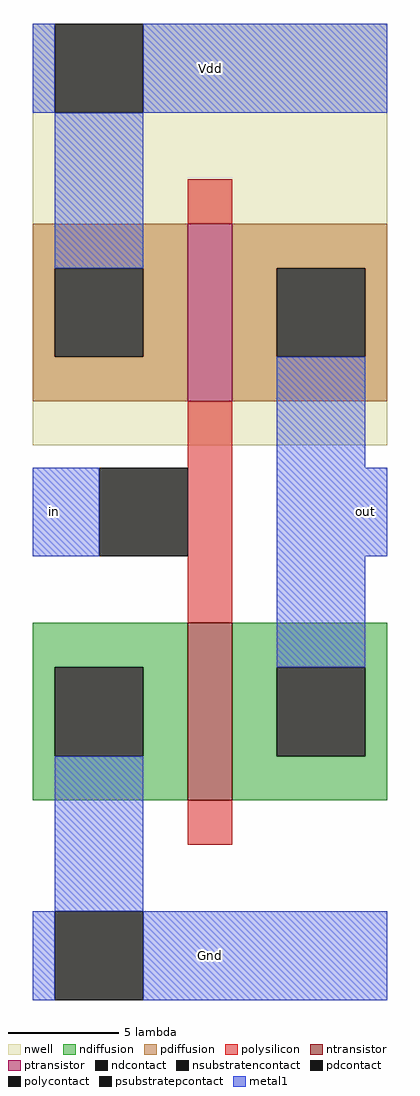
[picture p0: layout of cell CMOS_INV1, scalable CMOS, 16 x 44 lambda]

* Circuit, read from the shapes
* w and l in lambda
.subckt CMOS_INV1 Gnd Vdd in out
M1 out in Gnd Gnd nfet w=8 l=2
M2 out in Vdd Vdd pfet w=8 l=2
.ends

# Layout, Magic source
magic
tech scmos
<< nwell >>
rect -8 6 8 25
<< polysilicon >>
rect -1 16 1 18
rect -1 -2 1 8
rect -1 -12 1 -10
<< ndiffusion >>
rect -8 -4 -1 -2
rect -8 -8 -7 -4
rect -3 -8 -1 -4
rect -8 -10 -1 -8
rect 1 -4 8 -2
rect 1 -8 3 -4
rect 7 -8 8 -4
rect 1 -10 8 -8
<< pdiffusion >>
rect -8 14 -1 16
rect -8 10 -7 14
rect -3 10 -1 14
rect -8 8 -1 10
rect 1 14 8 16
rect 1 10 3 14
rect 7 10 8 14
rect 1 8 8 10
<< metal1 >>
rect -8 21 -7 25
rect -3 21 8 25
rect -7 14 -3 21
rect 3 5 7 10
rect -8 1 -5 5
rect 3 1 8 5
rect 3 -4 7 1
rect -7 -15 -3 -8
rect -8 -19 -7 -15
rect -3 -19 8 -15
<< ntransistor >>
rect -1 -10 1 -2
<< ptransistor >>
rect -1 8 1 16
<< polycontact >>
rect -5 1 -1 5
<< ndcontact >>
rect -7 -8 -3 -4
rect 3 -8 7 -4
<< pdcontact >>
rect -7 10 -3 14
rect 3 10 7 14
<< psubstratepcontact >>
rect -7 -19 -3 -15
<< nsubstratencontact >>
rect -7 21 -3 25
<< labels >>
rlabel metal1 0 23 0 23 5 Vdd
rlabel metal1 -7 3 -7 3 3 in
rlabel metal1 7 3 7 3 7 out
rlabel metal1 0 -17 0 -17 1 Gnd
<< end >>
